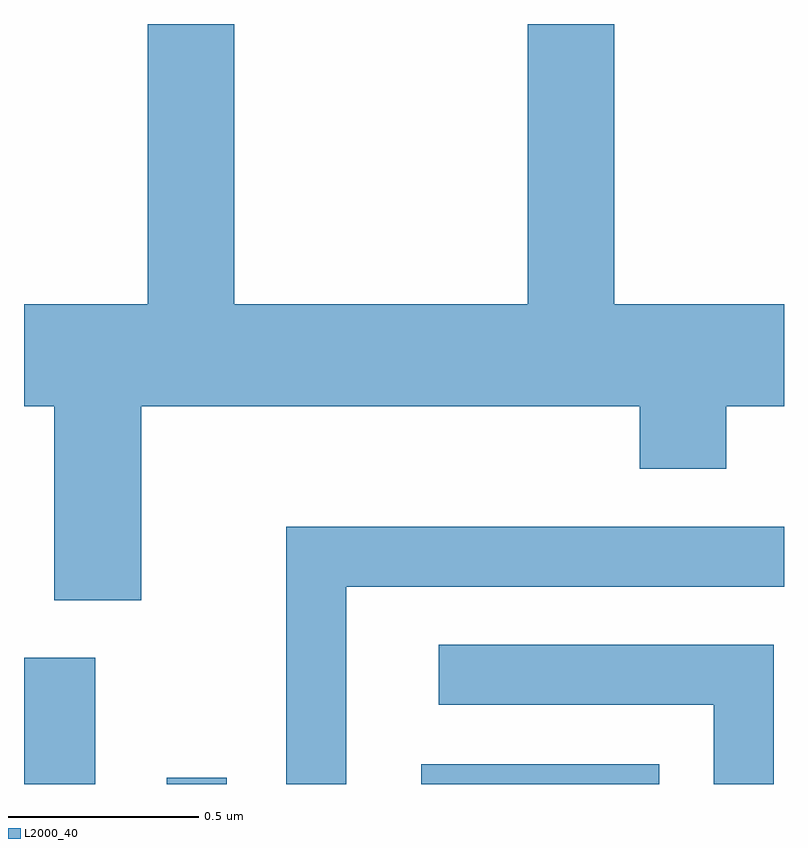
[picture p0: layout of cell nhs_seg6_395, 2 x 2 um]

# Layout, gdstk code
import gdstk
lib = gdstk.Library(unit=1e-6, precision=1e-09)
def R(c, l, rs):  # rectangles x0, y0, x1, y1
    for r in rs: c.add(gdstk.rectangle(r[:2], r[2:], *l))
def P(c, l, *ps):  # polygons
    for p in ps: c.add(gdstk.Polygon(p, *l))
L2000_40 = (2000, 40)

nhs_seg6_395 = lib.new_cell('nhs_seg6_395')
R(nhs_seg6_395, L2000_40, [(187.611,1651.162,187.799,1651.494), (187.986,1651.162,188.144,1651.178), (188.656,1651.162,189.283,1651.214)])
P(nhs_seg6_395, L2000_40, [(187.919,1652.156),(189.231,1652.156),(189.231,1651.991),(189.459,1651.991),(189.459,1652.156),(189.611,1652.156),(189.611,1652.424),(189.164,1652.424),(189.164,1653.162),(188.936,1653.162),(188.936,1652.424),(188.164,1652.424),(188.164,1653.162),(187.936,1653.162),(187.936,1652.424),(187.611,1652.424),(187.611,1652.156),(187.691,1652.156),(187.691,1651.646),(187.919,1651.646)],
  [(188.459,1651.681),(189.611,1651.681),(189.611,1651.839),(188.301,1651.839),(188.301,1651.162),(188.459,1651.162)],
  [(189.584,1651.529),(188.703,1651.529),(188.703,1651.371),(189.426,1651.371),(189.426,1651.162),(189.584,1651.162)])

lib.write_gds('nhs_seg6_395.gds')
